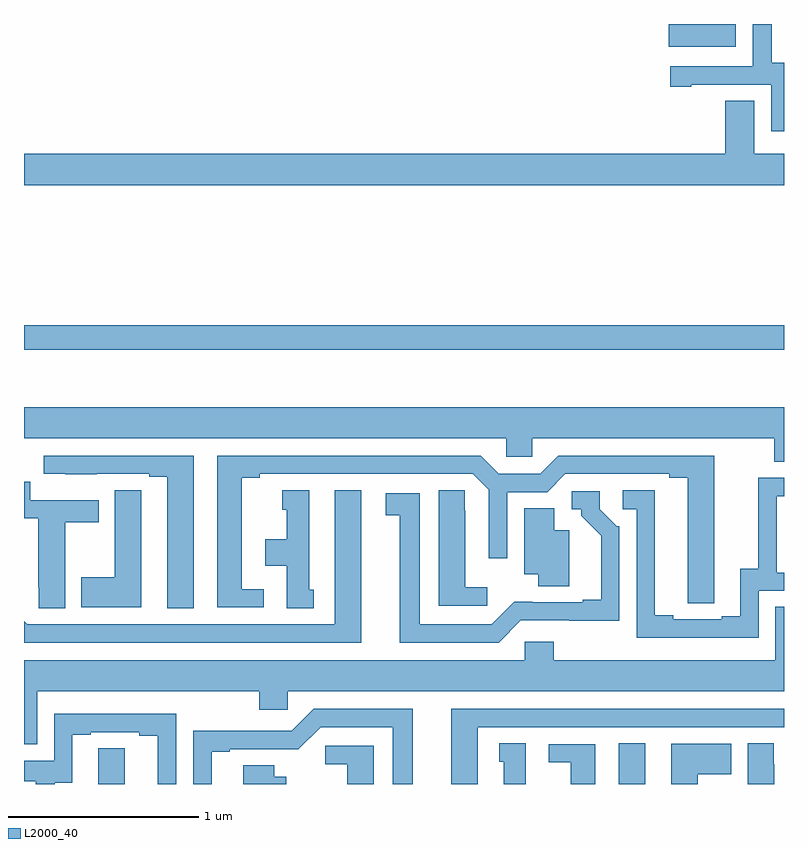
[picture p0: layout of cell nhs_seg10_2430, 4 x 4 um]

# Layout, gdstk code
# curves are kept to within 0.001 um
import gdstk
lib = gdstk.Library(unit=1e-6, precision=1e-09)
def R(c, l, rs):  # rectangles x0, y0, x1, y1
    for r in rs: c.add(gdstk.rectangle(r[:2], r[2:], *l))
def P(c, l, *ps):  # polygons
    for p in ps: c.add(gdstk.Polygon(p, *l))
L2000_40 = (2000, 40)

nhs_seg10_2430 = lib.new_cell('nhs_seg10_2430')
R(nhs_seg10_2430, L2000_40, [(244.13,1294.5,244.27,1294.715), (241,1296.786,245,1296.914), (244.394,1298.381,244.747,1298.5)])
P(nhs_seg10_2430, L2000_40, [(245,1298.297),(244.935,1298.297),(244.935,1298.5),(244.836,1298.5),(244.836,1298.277),(244.401,1298.277),(244.401,1298.169),(244.513,1298.169),(244.513,1298.181),(244.932,1298.181),(244.932,1297.935),(245,1297.935)],
  [(245,1297.816),(244.843,1297.816),(244.843,1298.096),(244.691,1298.096),(244.691,1297.816),(241,1297.816),(241,1297.652),(245,1297.652)],
  [(245,1296.484),(241,1296.484),(241,1296.32),(243.537,1296.32),(243.537,1296.222),(243.675,1296.222),(243.675,1296.32),(244.948,1296.32),(244.948,1296.196),(245,1296.196)],
  [(241.894,1296.228),(241.104,1296.228),(241.104,1296.132),(241.216,1296.132),(241.216,1296.131),(241.382,1296.131),(241.382,1296.132),(241.658,1296.132),(241.658,1296.117),(241.754,1296.117),(241.754,1295.425),(241.894,1295.425)],
  [(242.263,1295.526),(242.146,1295.526),(242.146,1296.112),(242.242,1296.112),(242.242,1296.132),(243.363,1296.132),(243.447,1296.048),(243.447,1295.688),(243.543,1295.688),(243.543,1296.036),(243.753,1296.036),(243.849,1296.132),(244.397,1296.132),(244.397,1296.112),(244.493,1296.112),(244.493,1295.452),(244.632,1295.452),(244.633,1296.228),(243.813,1296.228),(243.717,1296.132),(243.499,1296.132),(243.403,1296.228),(242.018,1296.228),(242.018,1295.43),(242.263,1295.43)],
  [(244.866,1295.517),(245,1295.517),(245,1295.613),(244.962,1295.613),(244.962,1296.014),(244.964,1296.014),(244.964,1296.015),(245,1296.015),(245,1296.111),(244.864,1296.111),(244.864,1295.633),(244.769,1295.633),(244.769,1295.382),(244.673,1295.382),(244.673,1295.367),(244.417,1295.367),(244.417,1295.387),(244.321,1295.387),(244.321,1296.047),(244.152,1296.047),(244.152,1295.946),(244.224,1295.946),(244.224,1295.271),(244.866,1295.271)],
  [(241.216,1295.878),(241.393,1295.878),(241.393,1295.994),(241.034,1295.994),(241.034,1296.091),(241,1296.091),(241,1295.898),(241.076,1295.898),(241.076,1295.536),(241.077,1295.536),(241.077,1295.425),(241.216,1295.425)],
  [(241.618,1295.939),(241.617,1295.939),(241.617,1296.047),(241.478,1296.047),(241.478,1295.589),(241.301,1295.589),(241.301,1295.429),(241.618,1295.429)],
  [(243.439,1295.536),(243.322,1295.536),(243.322,1295.939),(243.321,1295.939),(243.321,1296.047),(243.182,1296.047),(243.182,1295.439),(243.439,1295.439)],
  [(242.776,1296.046),(242.636,1296.046),(242.636,1295.34),(241.017,1295.34),(241,1295.357),(241,1295.244),(242.776,1295.244)],
  [(242.524,1295.523),(242.5,1295.523),(242.5,1296.046),(242.36,1296.046),(242.36,1295.943),(242.384,1295.943),(242.384,1295.788),(242.27,1295.788),(242.27,1295.648),(242.384,1295.648),(242.384,1295.425),(242.524,1295.425)],
  [(243.615,1295.361),(244.134,1295.36),(244.134,1295.856),(244.119,1295.856),(244.029,1295.946),(244.029,1296.042),(243.882,1296.042),(243.882,1295.946),(243.932,1295.946),(243.932,1295.911),(244.037,1295.806),(244.037,1295.47),(243.941,1295.47),(243.941,1295.457),(243.58,1295.458),(243.462,1295.34),(243.082,1295.34),(243.082,1296.03),(242.904,1296.03),(242.904,1295.914),(242.978,1295.914),(242.978,1295.244),(243.498,1295.244)],
  [(243.871,1295.836),(243.79,1295.836),(243.79,1295.951),(243.632,1295.951),(243.632,1295.603),(243.707,1295.603),(243.707,1295.542),(243.871,1295.542)],
  [(241.069,1294.988),(242.237,1294.988),(242.237,1294.89),(242.388,1294.89),(242.388,1294.988),(245,1294.988),(245,1295.432),(244.955,1295.432),(244.955,1295.152),(243.788,1295.152),(243.788,1295.25),(243.636,1295.25),(243.636,1295.152),(241,1295.152),(241,1294.708),(241.069,1294.708)],
  [(243.388,1294.8),(245,1294.8),(245,1294.896),(243.248,1294.896),(243.248,1294.5),(243.388,1294.5)],
  [(241.987,1294.671),(242.083,1294.671),(242.083,1294.683),(242.444,1294.682),(242.562,1294.8),(242.942,1294.8),(242.942,1294.5),(243.046,1294.5),(243.046,1294.896),(242.526,1294.896),(242.409,1294.779),(242.153,1294.779),(242.153,1294.781),(241.89,1294.781),(241.89,1294.5),(241.987,1294.5)],
  [(241.161,1294.507),(241.255,1294.507),(241.255,1294.758),(241.351,1294.758),(241.351,1294.773),(241.607,1294.773),(241.607,1294.753),(241.703,1294.753),(241.703,1294.5),(241.8,1294.5),(241.8,1294.869),(241.158,1294.869),(241.158,1294.623),(241,1294.623),(241,1294.515),(241.061,1294.515),(241.061,1294.5),(241.161,1294.5)],
  [(243.64,1294.715),(243.5,1294.715),(243.5,1294.617),(243.524,1294.617),(243.524,1294.5),(243.64,1294.5)],
  [(244.948,1294.604),(244.947,1294.604),(244.947,1294.715),(244.808,1294.715),(244.808,1294.5),(244.948,1294.5)],
  [(244.546,1294.552),(244.723,1294.552),(244.723,1294.711),(244.406,1294.711),(244.406,1294.5),(244.546,1294.5)],
  [(244.006,1294.71),(243.762,1294.71),(243.762,1294.614),(243.878,1294.614),(243.878,1294.5),(244.006,1294.5)],
  [(242.842,1294.701),(242.586,1294.701),(242.586,1294.604),(242.702,1294.604),(242.702,1294.5),(242.842,1294.5)],
  [(241.531,1294.688),(241.392,1294.688),(241.392,1294.58),(241.391,1294.58),(241.391,1294.5),(241.531,1294.5)],
  [(242.38,1294.537),(242.317,1294.537),(242.317,1294.598),(242.153,1294.598),(242.153,1294.5),(242.38,1294.5)])

lib.write_gds('nhs_seg10_2430.gds')
